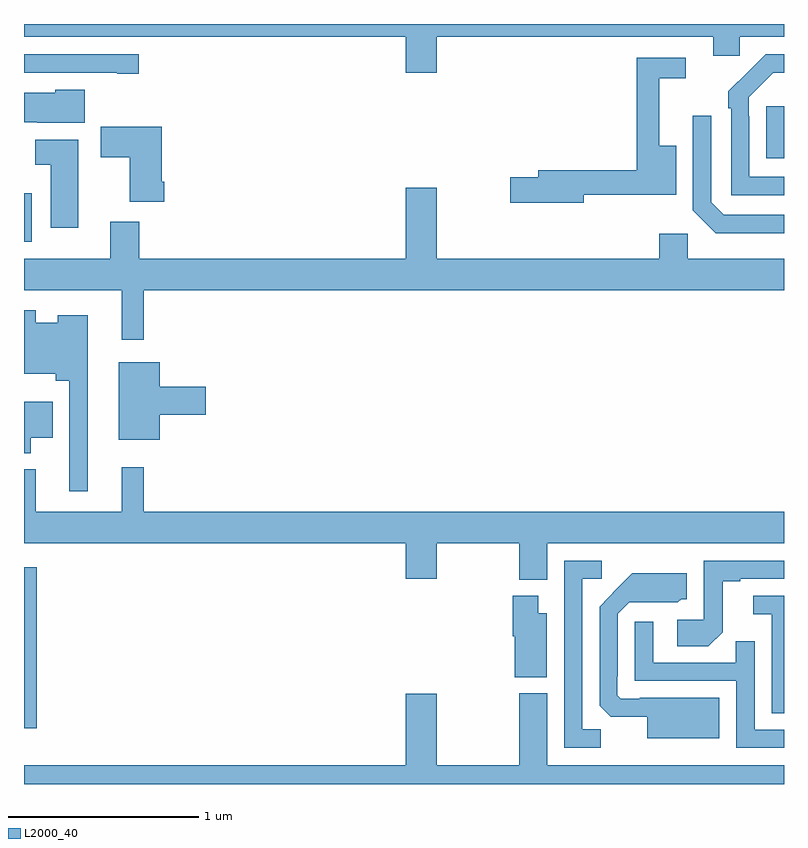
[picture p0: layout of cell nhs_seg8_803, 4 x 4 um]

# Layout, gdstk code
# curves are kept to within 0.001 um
import gdstk
lib = gdstk.Library(unit=1e-6, precision=1e-09)
def R(c, l, rs):  # rectangles x0, y0, x1, y1
    for r in rs: c.add(gdstk.rectangle(r[:2], r[2:], *l))
def P(c, l, *ps):  # polygons
    for p in ps: c.add(gdstk.Polygon(p, *l))
L2000_40 = (2000, 40)

nhs_seg8_803 = lib.new_cell('nhs_seg8_803')
R(nhs_seg8_803, L2000_40, [(163,1114.194,163.067,1115.041), (163,1116.755,163.042,1117.009), (166.907,1117.193,167,1117.468)])
P(nhs_seg8_803, L2000_40, [(165.172,1117.832),(166.628,1117.832),(166.628,1117.734),(166.767,1117.734),(166.767,1117.832),(167,1117.832),(167,1117.9),(163,1117.9),(163,1117.832),(165.008,1117.832),(165.008,1117.644),(165.172,1117.644)],
  [(163.603,1117.74),(163,1117.74),(163,1117.644),(163.49,1117.644),(163.49,1117.639),(163.603,1117.639)],
  [(167,1117.095),(166.818,1117.095),(166.818,1117.415),(166.815,1117.415),(166.815,1117.515),(166.944,1117.644),(167,1117.644),(167,1117.74),(166.904,1117.74),(166.707,1117.545),(166.707,1117.457),(166.722,1117.457),(166.722,1116.999),(167,1116.999)],
  [(165.946,1117.002),(166.432,1117.002),(166.432,1117.258),(166.343,1117.258),(166.343,1117.614),(166.483,1117.614),(166.483,1117.722),(166.225,1117.722),(166.225,1117.13),(165.707,1117.13),(165.707,1117.094),(165.558,1117.094),(165.558,1116.959),(165.946,1116.959)],
  [(163.321,1117.555),(163.164,1117.555),(163.164,1117.537),(163,1117.537),(163,1117.383),(163.069,1117.383),(163.069,1117.379),(163.321,1117.379)],
  [(167,1116.897),(166.683,1116.897),(166.617,1116.963),(166.617,1117.417),(166.521,1117.417),(166.521,1116.921),(166.642,1116.8),(167,1116.8)],
  [(163.739,1117.069),(163.726,1117.069),(163.726,1117.36),(163.404,1117.36),(163.404,1117.198),(163.556,1117.198),(163.556,1116.965),(163.739,1116.965)],
  [(163.285,1117.291),(163.058,1117.291),(163.058,1117.16),(163.142,1117.16),(163.142,1116.828),(163.285,1116.828)],
  [(163.631,1116.5),(167,1116.5),(167,1116.664),(166.494,1116.664),(166.494,1116.796),(166.343,1116.796),(166.343,1116.664),(165.172,1116.664),(165.172,1117.039),(165.008,1117.039),(165.008,1116.664),(163.607,1116.664),(163.607,1116.859),(163.454,1116.859),(163.454,1116.664),(163,1116.664),(163,1116.5),(163.514,1116.5),(163.514,1116.237),(163.631,1116.237)],
  [(163.336,1116.367),(163.178,1116.367),(163.178,1116.328),(163.062,1116.328),(163.062,1116.394),(163,1116.394),(163,1116.059),(163.166,1116.059),(163.166,1116.023),(163.239,1116.023),(163.239,1115.442),(163.336,1115.442)],
  [(163.714,1115.843),(163.957,1115.843),(163.957,1115.99),(163.714,1115.99),(163.714,1116.121),(163.499,1116.121),(163.499,1115.711),(163.714,1115.711)],
  [(163.036,1115.723),(163.15,1115.723),(163.15,1115.911),(163,1115.911),(163,1115.642),(163.036,1115.642)],
  [(165.754,1115.168),(167,1115.168),(167,1115.332),(163.631,1115.332),(163.631,1115.566),(163.514,1115.566),(163.514,1115.332),(163.061,1115.332),(163.061,1115.557),(163,1115.557),(163,1115.168),(165.008,1115.168),(165.008,1114.98),(165.172,1114.98),(165.172,1115.168),(165.607,1115.168),(165.607,1114.976),(165.754,1114.976)],
  [(166.035,1114.187),(165.939,1114.187),(165.939,1114.98),(166.042,1114.98),(166.042,1115.076),(165.843,1115.076),(165.843,1114.092),(166.035,1114.092)],
  [(166.677,1114.7),(166.677,1114.968),(166.771,1114.968),(166.771,1114.98),(167,1114.98),(167,1115.076),(166.578,1115.076),(166.578,1114.764),(166.437,1114.764),(166.437,1114.624),(166.601,1114.624)],
  [(166.66,1114.354),(166.24,1114.354),(166.24,1114.35),(166.14,1114.35),(166.122,1114.368),(166.122,1114.468),(166.125,1114.468),(166.125,1114.797),(166.185,1114.857),(166.442,1114.856),(166.458,1114.872),(166.489,1114.872),(166.489,1115.008),(166.201,1115.008),(166.029,1114.834),(166.029,1114.312),(166.088,1114.253),(166.28,1114.253),(166.28,1114.142),(166.66,1114.142)],
  [(165.751,1114.798),(165.706,1114.798),(165.706,1114.891),(165.572,1114.891),(165.572,1114.677),(165.584,1114.677),(165.584,1114.463),(165.751,1114.463)],
  [(167,1114.89),(166.839,1114.89),(166.839,1114.793),(166.935,1114.793),(166.935,1114.273),(167,1114.273)],
  [(167,1114.185),(166.845,1114.185),(166.845,1114.652),(166.747,1114.652),(166.747,1114.539),(166.311,1114.539),(166.311,1114.753),(166.215,1114.753),(166.215,1114.443),(166.749,1114.443),(166.749,1114.092),(167,1114.092)],
  [(167,1114),(165.754,1114),(165.754,1114.378),(165.607,1114.378),(165.607,1114),(165.172,1114),(165.172,1114.375),(165.008,1114.375),(165.008,1114),(163,1114),(163,1113.9),(167,1113.9)])

lib.write_gds('nhs_seg8_803.gds')
